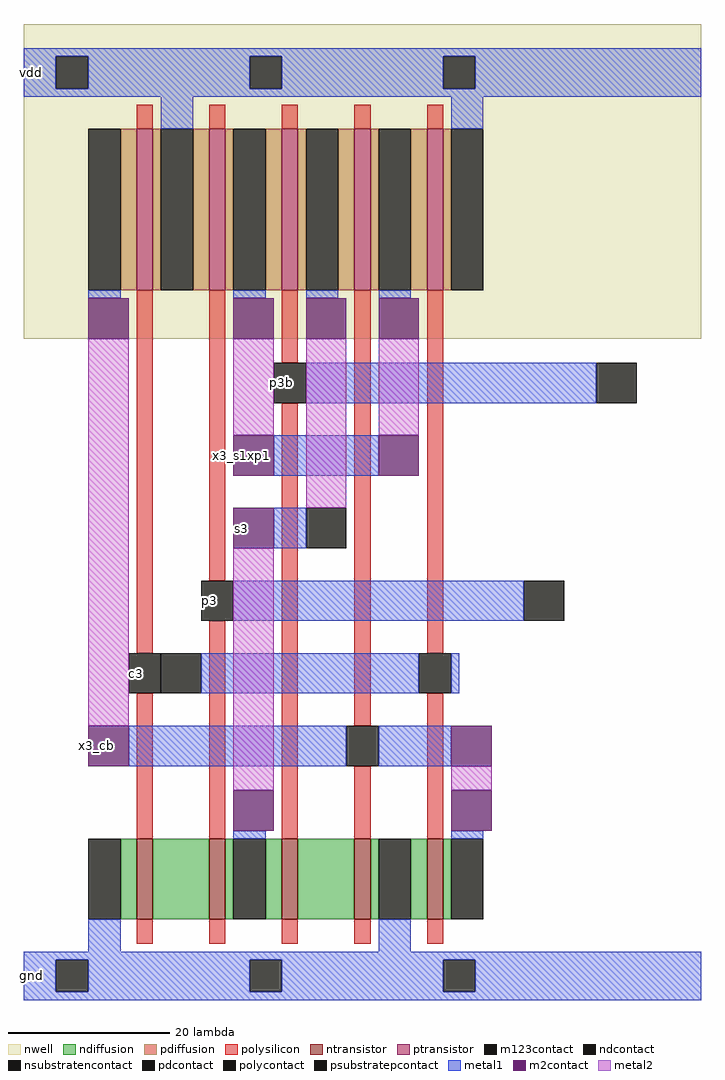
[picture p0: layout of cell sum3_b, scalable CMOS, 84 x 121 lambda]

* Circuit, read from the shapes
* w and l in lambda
.subckt sum3_b c3 p3 p3b s3 vdd gnd
M1 n1 c3 gnd gnd nfet w=10 l=2
M2 s3 p3 n1 gnd nfet w=10 l=2
M3 n2 p3b s3 gnd nfet w=10 l=2
M4 gnd x3_cb n2 gnd nfet w=10 l=2
M5 x3_cb c3 gnd gnd nfet w=10 l=2
M6 vdd c3 x3_cb vdd pfet w=20 l=2
M7 x3_s1xp1 p3 vdd vdd pfet w=20 l=2
M8 s3 p3b x3_s1xp1 vdd pfet w=20 l=2
M9 x3_s1xp1 x3_cb s3 vdd pfet w=20 l=2
M10 vdd c3 x3_s1xp1 vdd pfet w=20 l=2
.ends

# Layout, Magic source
magic
tech scmos
<< nwell >>
rect 0 82 84 121
<< ntransistor >>
rect 14 10 16 20
rect 23 10 25 20
rect 32 10 34 20
rect 41 10 43 20
rect 50 10 52 20
<< ptransistor >>
rect 14 88 16 108
rect 23 88 25 108
rect 32 88 34 108
rect 41 88 43 108
rect 50 88 52 108
<< ndiffusion >>
rect 12 10 14 20
rect 16 10 23 20
rect 25 10 26 20
rect 30 10 32 20
rect 34 10 41 20
rect 43 10 44 20
rect 48 10 50 20
rect 52 10 53 20
<< pdiffusion >>
rect 12 88 14 108
rect 16 88 17 108
rect 21 88 23 108
rect 25 88 26 108
rect 30 88 32 108
rect 34 88 35 108
rect 39 88 41 108
rect 43 88 44 108
rect 48 88 50 108
rect 52 88 53 108
<< ndcontact >>
rect 8 10 12 20
rect 26 10 30 20
rect 44 10 48 20
rect 53 10 57 20
<< pdcontact >>
rect 8 88 12 108
rect 17 88 21 108
rect 26 88 30 108
rect 35 88 39 108
rect 44 88 48 108
rect 53 88 57 108
<< psubstratepcontact >>
rect 4 1 8 5
rect 28 1 32 5
rect 52 1 56 5
<< nsubstratencontact >>
rect 4 113 8 117
rect 28 113 32 117
rect 52 113 56 117
<< polysilicon >>
rect 14 108 16 111
rect 23 108 25 111
rect 32 108 34 111
rect 41 108 43 111
rect 50 108 52 111
rect 14 43 16 88
rect 23 52 25 88
rect 32 79 34 88
rect 14 20 16 38
rect 23 20 25 47
rect 32 20 34 74
rect 41 34 43 88
rect 50 43 52 88
rect 41 20 43 29
rect 50 20 52 38
rect 14 7 16 10
rect 23 7 25 10
rect 32 7 34 10
rect 41 7 43 10
rect 50 7 52 10
<< polycontact >>
rect 31 74 35 79
rect 22 47 26 52
rect 13 38 17 43
rect 49 38 53 43
rect 40 29 44 34
<< metal1 >>
rect 0 117 84 118
rect 0 113 4 117
rect 8 113 28 117
rect 32 113 52 117
rect 56 113 84 117
rect 0 112 84 113
rect 17 108 21 112
rect 53 108 57 112
rect 8 87 12 88
rect 26 87 30 88
rect 35 87 39 88
rect 44 87 48 88
rect 35 74 71 79
rect 31 65 44 70
rect 31 56 35 61
rect 26 47 62 52
rect 22 38 49 43
rect 53 38 54 43
rect 13 29 40 34
rect 44 29 53 34
rect 26 20 30 21
rect 53 20 57 21
rect 8 6 12 10
rect 44 6 48 10
rect 0 5 84 6
rect 0 1 4 5
rect 8 1 28 5
rect 32 1 52 5
rect 56 1 84 5
rect 0 0 84 1
<< m2contact >>
rect 8 82 13 87
rect 26 82 31 87
rect 35 82 40 87
rect 44 82 49 87
rect 26 65 31 70
rect 44 65 49 70
rect 26 56 31 61
rect 8 29 13 34
rect 53 29 58 34
rect 26 21 31 26
rect 53 21 58 26
<< metal2 >>
rect 8 34 13 82
rect 26 70 31 82
rect 35 61 40 82
rect 44 70 49 82
rect 26 26 31 56
rect 53 26 58 29
<< m123contact >>
rect 71 74 76 79
rect 35 56 40 61
rect 17 38 22 43
rect 62 47 67 52
<< labels >>
rlabel metal1 13 38 15 43 0 c3
port 1 nsew
rlabel metal1 22 47 24 52 0 p3
port 2 nsew
rlabel metal1 31 74 33 79 0 p3b
port 3 nsew
rlabel m2contact 26 56 28 61 0 s3
port 4 nsew
rlabel m2contact 8 29 10 34 0 x3_cb
rlabel m2contact 26 65 28 70 0 x3_s1xp1
rlabel metal1 0 112 2 118 0 vdd
port 5 nsew
rlabel metal1 0 0 2 6 0 gnd
port 6 nsew
<< end >>
